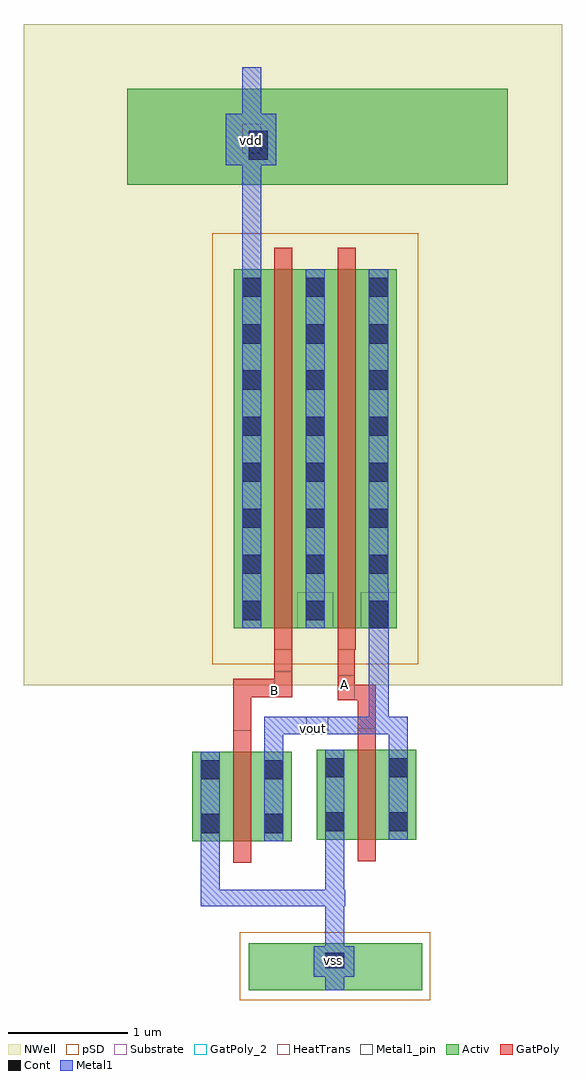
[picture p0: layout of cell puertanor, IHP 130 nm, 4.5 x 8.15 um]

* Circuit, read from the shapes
.subckt puertanor A B vdd vout vss
XM1 vout B vss vss sg13_lv_nmos w=0.75u l=0.15u
XM2 vout A vss vss sg13_lv_nmos w=0.75u l=0.15u
XM3 n1 B vdd vdd sg13_lv_pmos w=3u l=0.15u
XM4 vout A n1 vdd sg13_lv_pmos w=3u l=0.15u
.ends

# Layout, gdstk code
import gdstk
lib = gdstk.Library(unit=1e-6, precision=5e-09)
def R(c, l, rs):  # rectangles x0, y0, x1, y1
    for r in rs: c.add(gdstk.rectangle(r[:2], r[2:], *l))
def A(c, l, x, y, w, h, nx, ny, dx, dy):  # array of equal rectangles
    R(c, l, [(x+i*dx, y+j*dy, x+i*dx+w, y+j*dy+h) for i in range(nx) for j in range(ny)])
Activ = (1, 0)
GatPoly = (5, 0)
GatPoly_2 = (5, 2)
Cont = (6, 0)
Metal1 = (8, 0)
Metal1_pin = (8, 2)
pSD = (14, 0)
NWell = (31, 0)
Substrate = (40, 0)
HeatTrans = (51, 0)

pmos_1 = lib.new_cell('pmos$1')
R(pmos_1, Activ, [(0,0,0.3,0.3), (0,0,0.83,3), (0.53,0,0.83,0.3)])
R(pmos_1, GatPoly, [(0.34,-0.18,0.49,3.18), (0.34,-0.18,0.49,3.18)])
A(pmos_1, Cont, 0.07, 0.07, 0.16, 0.16, 1, 7, 0, 0.385)
A(pmos_1, Cont, 0.6, 0.07, 0.16, 0.16, 1, 7, 0, 0.385)
R(pmos_1, Cont, [(0.07,2.77,0.23,2.93), (0.6,2.77,0.76,2.93)])
R(pmos_1, Metal1, [(0.07,0,0.23,3), (0.07,0,0.23,3), (0.6,0,0.76,3), (0.6,0,0.76,3)])
R(pmos_1, pSD, [(-0.18,-0.3,1.01,3.3)])
R(pmos_1, NWell, [(-0.31,-0.31,1.14,3.31)])
R(pmos_1, Substrate, [(0.53,0,0.83,0.3)])
R(pmos_1, HeatTrans, [(0.34,-0.18,0.49,3.18)])
pmos_1.add(gdstk.Label('pmos', (0.415,1.5), layer=63, texttype=0))
pmos_1.add(gdstk.Label('pmos', (0.415,1.5), layer=51, texttype=0))

nmos_1 = lib.new_cell('nmos$1')
R(nmos_1, Activ, [(0,0,0.3,0.3), (0,0,0.83,0.75), (0.53,0,0.83,0.3)])
R(nmos_1, GatPoly, [(0.34,-0.18,0.49,0.93)])
R(nmos_1, GatPoly_2, [(0.34,-0.18,0.49,0.93)])
R(nmos_1, Cont, [(0.07,0.07,0.23,0.23), (0.6,0.07,0.76,0.23), (0.07,0.52,0.23,0.68), (0.6,0.52,0.76,0.68)])
R(nmos_1, Metal1, [(0.07,0,0.23,0.75), (0.6,0,0.76,0.75)])
R(nmos_1, Metal1_pin, [(0.07,0,0.23,0.75), (0.6,0,0.76,0.75)])
R(nmos_1, HeatTrans, [(0.34,-0.18,0.49,0.93)])
nmos_1.add(gdstk.Label('nmos', (0.415,0.375), layer=63, texttype=0))
nmos_1.add(gdstk.Label('nmos', (0.415,0.375), layer=51, texttype=0))

puertanor = lib.new_cell('puertanor')
R(puertanor, Activ, [(8.035,3.76,9.485,4.155), (7.02,10.49,10.2,11.295)])
R(puertanor, GatPoly, [(7.905,5.935,8.055,6.365), (8.945,5.95,9.095,6.305), (8.78,6.185,9.095,6.315), (8.78,6.19,8.92,7.01), (7.905,6.21,8.4,6.365), (8.25,6.21,8.4,7.035)])
R(puertanor, GatPoly_2, [(8.78,6.19,8.92,6.395), (8.25,6.21,8.4,6.425)])
R(puertanor, Cont, [(8.675,3.945,8.835,4.075), (9.04,6.785,9.2,6.93), (8.035,10.7,8.195,10.945)])
R(puertanor, Metal1, [(8.675,3.76,8.835,5.385), (8.58,3.875,8.915,4.13), (7.635,4.465,8.84,4.6), (7.635,4.465,7.795,5.125), (9.205,5.57,9.365,6.045), (8.165,5.755,8.325,6.045), (8.165,5.9,9.365,6.045), (9.04,5.905,9.205,7.115), (7.98,9.635,8.14,11.475), (7.845,10.655,8.265,11.085)])
R(puertanor, Metal1_pin, [(8.675,3.945,8.835,4.075), (8.515,5.9,8.7,6.045), (7.98,10.755,8.14,11)])
R(puertanor, pSD, [(7.96,3.68,9.55,4.245)])
R(puertanor, NWell, [(6.155,6.31,10.655,11.835)])
puertanor.add(gdstk.Reference(pmos_1, (7.91,6.785)))
puertanor.add(gdstk.Reference(nmos_1, (8.605,5.02)))
puertanor.add(gdstk.Reference(nmos_1, (7.565,5.005)))
puertanor.add(gdstk.Reference(pmos_1, (8.44,6.785)))
puertanor.add(gdstk.Label('vout', (8.58,5.945), layer=8, texttype=2))
puertanor.add(gdstk.Label('vss', (8.74,4.01), layer=8, texttype=2))
puertanor.add(gdstk.Label('vdd', (8.06,10.865), layer=8, texttype=2))
puertanor.add(gdstk.Label('B', (8.25,6.27), layer=5, texttype=2))
puertanor.add(gdstk.Label('B', (8.33,6.29), layer=5, texttype=2))
puertanor.add(gdstk.Label('A', (8.835,6.32), layer=5, texttype=2))

lib.write_gds('puertanor.gds')
